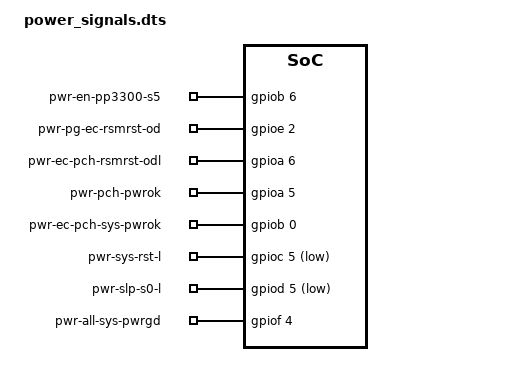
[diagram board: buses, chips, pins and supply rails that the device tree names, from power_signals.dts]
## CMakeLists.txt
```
# Copyright 2022 The ChromiumOS Authors.
# Use of this source code is governed by a BSD-style license that can be
# found in the LICENSE file.

cmake_minimum_required(VERSION 3.20.5)
find_package(Zephyr REQUIRED HINTS "${ZEPHYR_BASE}")
project(rex)

zephyr_include_directories("${CMAKE_CURRENT_SOURCE_DIR}/include")
zephyr_library_sources_ifdef(CONFIG_AP_PWRSEQ "src/board_power.c")
zephyr_library_sources_ifdef(CONFIG_PLATFORM_EC_USBC "src/usbc_config.c")
zephyr_library_sources_ifdef(CONFIG_PLATFORM_EC_USBC "src/usb_pd_policy.c")
zephyr_library_sources_ifdef(CONFIG_PLATFORM_EC_FAN "src/fan.c")
```

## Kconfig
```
# Copyright 2022 The ChromiumOS Authors.
# Use of this source code is governed by a BSD-style license that can be
# found in the LICENSE file.

config BOARD_REX0
	bool "Google Rex0 Baseboard"
	help
	  Build Google Rex0 reference board.  The board uses Nuvoton
	  NPCX9 chip as the EC.

source "Kconfig.zephyr"
```

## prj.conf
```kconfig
# Copyright 2022 The ChromiumOS Authors
# Use of this source code is governed by a BSD-style license that can be
# found in the LICENSE file.

CONFIG_PLATFORM_EC=y
CONFIG_CROS_EC=y
CONFIG_SHIMMED_TASKS=y
CONFIG_SYSCON=y
# Enable during development
CONFIG_LTO=n
CONFIG_PLATFORM_EC_SYSTEM_UNLOCKED=y
CONFIG_PLATFORM_EC_BOARD_RESET_AFTER_POWER_ON=y

# Shell Commands
CONFIG_SHELL_HELP=y
CONFIG_SHELL_HISTORY=y
CONFIG_SHELL_TAB=y
CONFIG_SHELL_TAB_AUTOCOMPLETION=y
CONFIG_KERNEL_SHELL=y

# Logging
CONFIG_LOG=y
CONFIG_LOG_MODE_MINIMAL=y

# Disable default features we don't want in a minimal example.
CONFIG_PLATFORM_EC_BACKLIGHT_LID=y
CONFIG_PLATFORM_EC_SWITCH=y
CONFIG_PLATFORM_EC_VBOOT_EFS2=y

# Application processor; communicates with EC via eSPI
CONFIG_AP=y
CONFIG_ESPI=y
CONFIG_PLATFORM_EC_HOST_INTERFACE_ESPI_VW_SLP_S3=y
CONFIG_PLATFORM_EC_HOST_INTERFACE_ESPI_VW_SLP_S4=y
CONFIG_PLATFORM_EC_HOST_INTERFACE_ESPI_VW_SLP_S5=y
CONFIG_PLATFORM_EC_HOSTCMD=y
# Disabling this until temp sensor support is in
CONFIG_PLATFORM_EC_THROTTLE_AP=n
CONFIG_PLATFORM_EC_PORT80=y

# Power Sequecing
CONFIG_AP_X86_INTEL_MTL=y
CONFIG_X86_NON_DSX_PWRSEQ_MTL=y
CONFIG_X86_NON_DSX_PWRSEQ_HOST_CMD=y
# TODO (b/240434243): This may be needed, but using eSPI VW for now
CONFIG_PLATFORM_EC_POWERSEQ_SLP_S3_L_OVERRIDE=n
CONFIG_PLATFORM_EC_POWERSEQ_PP5000_CONTROL=n

# Zephyr Inbuilt AP Power Sequencing Config
CONFIG_AP_PWRSEQ=y
CONFIG_X86_NON_DSX_PWRSEQ_CONSOLE=y
CONFIG_AP_PWRSEQ_S0IX=y

# I2C
CONFIG_I2C=y
CONFIG_PLATFORM_EC_HOSTCMD_I2C_CONTROL=y

# PWM
CONFIG_PWM=y

# Fan
CONFIG_TACH_NPCX=y

# Temperature sensors
CONFIG_SENSOR=y
CONFIG_PLATFORM_EC_TEMP_SENSOR=y
CONFIG_PLATFORM_EC_THERMISTOR=y
CONFIG_PLATFORM_EC_TEMP_SENSOR_POWER=y

# CBI EEPROM support
CONFIG_EEPROM=y
CONFIG_EEPROM_AT24=y
CONFIG_EEPROM_SHELL=n
CONFIG_PLATFORM_EC_BOARD_VERSION_CBI=y
CONFIG_PLATFORM_EC_BYPASS_CBI_EEPROM_WP_CHECK=y

# LED
CONFIG_PLATFORM_EC_LED_DT=y

# Battery
CONFIG_PLATFORM_EC_BATTERY_SMART=y
CONFIG_PLATFORM_EC_BATTERY_FUEL_GAUGE=y
CONFIG_PLATFORM_EC_BATTERY_CUT_OFF=y
CONFIG_PLATFORM_EC_BATTERY_PRESENT_GPIO=y
CONFIG_PLATFORM_EC_BATTERY_REVIVE_DISCONNECT=y

# Charger
CONFIG_PLATFORM_EC_CHARGER_DISCHARGE_ON_AC=y
CONFIG_PLATFORM_EC_CHARGER_INPUT_CURRENT=512
CONFIG_PLATFORM_EC_CHARGER_ISL9241=y
CONFIG_PLATFORM_EC_CHARGER_SENSE_RESISTOR=5
CONFIG_PLATFORM_EC_CHARGER_SENSE_RESISTOR_AC=10
CONFIG_PLATFORM_EC_CHARGER_MIN_POWER_MW_FOR_POWER_ON=30000
CONFIG_PLATFORM_EC_CHARGER_MIN_POWER_MW_FOR_POWER_ON_WITH_BATT=15000

# USB-A
CONFIG_PLATFORM_EC_USBA=y

# USBC
CONFIG_PLATFORM_EC_USBC_PPC=y
CONFIG_PLATFORM_EC_USBC_PPC_NX20P3483=y
CONFIG_PLATFORM_EC_USBC_PPC_SYV682X=y
CONFIG_PLATFORM_EC_USBC_PPC_SYV682C=y
CONFIG_PLATFORM_EC_USBC_PPC_SYV682X_SMART_DISCHARGE=y
CONFIG_PLATFORM_EC_USBC_RETIMER_INTEL_HB=y
CONFIG_PLATFORM_EC_USBC_VCONN=y

CONFIG_PLATFORM_EC_USB_DRP_ACC_TRYSRC=y
CONFIG_PLATFORM_EC_USB_PD_VBUS_DETECT_TCPC=y
CONFIG_PLATFORM_EC_USB_PD_DISCHARGE_PPC=y
CONFIG_PLATFORM_EC_USB_PD_FRS=y
CONFIG_PLATFORM_EC_USB_PD_FRS_PPC=y
CONFIG_PLATFORM_EC_USB_PD_REV30=y
CONFIG_PLATFORM_EC_USB_PD_TCPC_LOW_POWER=y
CONFIG_PLATFORM_EC_USB_PD_TCPM_TCPCI=y
CONFIG_PLATFORM_EC_USB_PD_TCPM_NCT38XX=y
CONFIG_PLATFORM_EC_USB_PD_TCPM_PS8815=y
CONFIG_PLATFORM_EC_USB_PD_TRY_SRC=y
CONFIG_PLATFORM_EC_USB_PD_DUAL_ROLE_AUTO_TOGGLE=y
CONFIG_PLATFORM_EC_USB_PD_TBT_COMPAT_MODE=y
CONFIG_PLATFORM_EC_USB_PD_USB32_DRD=y
CONFIG_PLATFORM_EC_USB_PD_USB4=y
CONFIG_PLATFORM_EC_USB_PD_VBUS_MEASURE_CHARGER=y
CONFIG_PLATFORM_EC_USB_PID=0x504D

# IOEX
CONFIG_GPIO_NCT38XX=y

# BC 1.2
CONFIG_PLATFORM_EC_BC12_DETECT_PI3USB9201=y

#USB Mux
CONFIG_PLATFORM_EC_USB_MUX_VIRTUAL=y
CONFIG_PLATFORM_EC_USB_MUX_TASK=y

# External power
CONFIG_PLATFORM_EC_EXTPOWER_GPIO=y

# Standard shimmed features
CONFIG_PLATFORM_EC_POWER_BUTTON=y
CONFIG_PLATFORM_EC_LID_SWITCH=y

# Keyboard support
CONFIG_PLATFORM_EC_KEYBOARD=y
CONFIG_PLATFORM_EC_KEYBOARD_PROTOCOL_8042=y
# Column 2 is driven through the GSC, which inverts the signal going through it
CONFIG_PLATFORM_EC_KEYBOARD_COL2_INVERTED=y

# MKBP event
CONFIG_PLATFORM_EC_MKBP_EVENT=y
CONFIG_PLATFORM_EC_MKBP_INPUT_DEVICES=y
CONFIG_PLATFORM_EC_MKBP_USE_GPIO_AND_HOST_EVENT=y

# Sensors console command
CONFIG_PLATFORM_EC_CONSOLE_CMD_ACCELS=y
CONFIG_PLATFORM_EC_CONSOLE_CMD_ACCEL_INFO=y
CONFIG_PLATFORM_EC_CONSOLE_CMD_I2C_SPEED=y

# Sensors
CONFIG_SENSOR=y
CONFIG_SENSOR_SHELL=n
CONFIG_PLATFORM_EC_MOTIONSENSE=y
CONFIG_PLATFORM_EC_ACCEL_FIFO=y
CONFIG_PLATFORM_EC_DYNAMIC_MOTION_SENSOR_COUNT=y
CONFIG_PLATFORM_EC_GMR_TABLET_MODE=y
CONFIG_PLATFORM_EC_LID_ANGLE=y
CONFIG_PLATFORM_EC_LID_ANGLE_UPDATE=y
CONFIG_PLATFORM_EC_SENSOR_TIGHT_TIMESTAMPS=y
CONFIG_PLATFORM_EC_TABLET_MODE=y
CONFIG_PLATFORM_EC_TABLET_MODE_SWITCH=y

# Sensor Drivers
CONFIG_PLATFORM_EC_ACCELGYRO_LSM6DSO=y
CONFIG_PLATFORM_EC_ACCEL_LIS2DW12=y
CONFIG_PLATFORM_EC_ALS_TCS3400=y
```

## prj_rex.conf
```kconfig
# Copyright 2022 The ChromiumOS Authors.
# Use of this source code is governed by a BSD-style license that can be
# found in the LICENSE file.

# Rex reference-board-specific Kconfig settings.
CONFIG_BOARD_REX=y

# Keyboard
CONFIG_CROS_KB_RAW_NPCX=y

# Sensors
CONFIG_SENSOR=y
CONFIG_SENSOR_SHELL=n

# Sensor drivers
CONFIG_PLATFORM_EC_ACCELGYRO_LSM6DSO=y
```

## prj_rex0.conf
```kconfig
# Copyright 2022 The ChromiumOS Authors.
# Use of this source code is governed by a BSD-style license that can be
# found in the LICENSE file.

# Rex reference-board-specific Kconfig settings.
CONFIG_BOARD_REX0=y
```

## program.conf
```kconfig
# Copyright 2022 The ChromiumOS Authors
# Use of this source code is governed by a BSD-style license that can be
# found in the LICENSE file.

CONFIG_PLATFORM_EC=y
CONFIG_CROS_EC=y
CONFIG_SHIMMED_TASKS=y
CONFIG_SYSCON=y
# Enable during development
CONFIG_LTO=n
CONFIG_PLATFORM_EC_SYSTEM_UNLOCKED=y
CONFIG_PLATFORM_EC_BOARD_RESET_AFTER_POWER_ON=y

# Shell Commands
CONFIG_SHELL_HELP=y
CONFIG_SHELL_HISTORY=y
CONFIG_SHELL_TAB=y
CONFIG_SHELL_TAB_AUTOCOMPLETION=y
CONFIG_KERNEL_SHELL=y

# Logging
CONFIG_LOG=y
CONFIG_LOG_MODE_MINIMAL=y

# Disable default features we don't want in a minimal example.
CONFIG_PLATFORM_EC_BACKLIGHT_LID=y
CONFIG_PLATFORM_EC_SWITCH=y
CONFIG_PLATFORM_EC_VBOOT_EFS2=y

# Application processor; communicates with EC via eSPI
CONFIG_AP=y
CONFIG_ESPI=y
CONFIG_PLATFORM_EC_HOST_INTERFACE_ESPI_VW_SLP_S3=y
CONFIG_PLATFORM_EC_HOST_INTERFACE_ESPI_VW_SLP_S4=y
CONFIG_PLATFORM_EC_HOST_INTERFACE_ESPI_VW_SLP_S5=y
CONFIG_PLATFORM_EC_HOSTCMD=y
# Disabling this until temp sensor support is in
CONFIG_PLATFORM_EC_THROTTLE_AP=n
CONFIG_PLATFORM_EC_PORT80=y

# Power Sequecing
CONFIG_AP_X86_INTEL_MTL=y
CONFIG_X86_NON_DSX_PWRSEQ_MTL=y
CONFIG_X86_NON_DSX_PWRSEQ_HOST_CMD=y
# TODO (b/240434243): This may be needed, but using eSPI VW for now
CONFIG_PLATFORM_EC_POWERSEQ_SLP_S3_L_OVERRIDE=n
CONFIG_PLATFORM_EC_POWERSEQ_PP5000_CONTROL=n

# Zephyr Inbuilt AP Power Sequencing Config
CONFIG_X86_NON_DSX_PWRSEQ_CONSOLE=y
CONFIG_AP_PWRSEQ_S0IX=y
CONFIG_AP_PWRSEQ_S0IX_ERROR_RECOVERY=y

# ADC
CONFIG_ADC=y

# I2C
CONFIG_I2C=y
CONFIG_PLATFORM_EC_HOSTCMD_I2C_CONTROL=y

# PWM
CONFIG_PWM=y

# Fan
CONFIG_TACH_NPCX=y

# Temperature sensors
CONFIG_PLATFORM_EC_TEMP_SENSOR_POWER=y

# CBI EEPROM support
CONFIG_EEPROM=y
CONFIG_EEPROM_AT24=y
CONFIG_EEPROM_SHELL=n
CONFIG_PLATFORM_EC_CBI_EEPROM=y
CONFIG_PLATFORM_EC_BOARD_VERSION_CBI=y
CONFIG_PLATFORM_EC_BYPASS_CBI_EEPROM_WP_CHECK=y

# Battery
CONFIG_PLATFORM_EC_BATTERY=y
CONFIG_PLATFORM_EC_BATTERY_SMART=y
CONFIG_PLATFORM_EC_BATTERY_FUEL_GAUGE=y
CONFIG_PLATFORM_EC_BATTERY_CUT_OFF=y
CONFIG_PLATFORM_EC_BATTERY_PRESENT_GPIO=y
CONFIG_PLATFORM_EC_BATTERY_REVIVE_DISCONNECT=y

# Charger
CONFIG_PLATFORM_EC_CHARGER_DISCHARGE_ON_AC=y
CONFIG_PLATFORM_EC_CHARGER_INPUT_CURRENT=512
CONFIG_PLATFORM_EC_CHARGER_ISL9241=y
CONFIG_PLATFORM_EC_CHARGER_SENSE_RESISTOR=5
CONFIG_PLATFORM_EC_CHARGER_SENSE_RESISTOR_AC=10
CONFIG_PLATFORM_EC_CHARGER_MIN_POWER_MW_FOR_POWER_ON=30000
CONFIG_PLATFORM_EC_CHARGER_MIN_POWER_MW_FOR_POWER_ON_WITH_BATT=15000

# USB-A
CONFIG_PLATFORM_EC_USBA=y

# USBC
CONFIG_PLATFORM_EC_USBC_PPC=y
CONFIG_PLATFORM_EC_USBC_PPC_SYV682C=y
CONFIG_PLATFORM_EC_USBC_PPC_SYV682X_SMART_DISCHARGE=y
CONFIG_PLATFORM_EC_USBC_VCONN=y

CONFIG_PLATFORM_EC_USB_DRP_ACC_TRYSRC=y
CONFIG_PLATFORM_EC_USB_PD_VBUS_DETECT_TCPC=y
CONFIG_PLATFORM_EC_USB_PD_DISCHARGE_PPC=y
CONFIG_PLATFORM_EC_USB_PD_FRS=y
CONFIG_PLATFORM_EC_USB_PD_FRS_PPC=y
CONFIG_PLATFORM_EC_USB_PD_REV30=y
CONFIG_PLATFORM_EC_USB_PD_TCPC_LOW_POWER=y
CONFIG_PLATFORM_EC_USB_PD_TCPM_TCPCI=y
CONFIG_PLATFORM_EC_USB_PD_TCPM_PS8815=y
CONFIG_PLATFORM_EC_USB_PD_TRY_SRC=y
CONFIG_PLATFORM_EC_USB_PD_DUAL_ROLE_AUTO_TOGGLE=y
CONFIG_PLATFORM_EC_USB_PD_TBT_COMPAT_MODE=y
CONFIG_PLATFORM_EC_USB_PD_USB32_DRD=y
CONFIG_PLATFORM_EC_USB_PD_USB4=y
CONFIG_PLATFORM_EC_USB_PD_REQUIRE_AP_MODE_ENTRY=y
CONFIG_PLATFORM_EC_USB_PD_DATA_RESET_MSG=y
CONFIG_PLATFORM_EC_USB_PD_VBUS_MEASURE_CHARGER=y
CONFIG_PLATFORM_EC_USB_PID=0x504D

# IOEX
CONFIG_GPIO_NCT38XX=y

# BC 1.2
CONFIG_PLATFORM_EC_BC12_DETECT_PI3USB9201=y

#USB Mux
CONFIG_PLATFORM_EC_USB_MUX_TASK=y

# External power
CONFIG_PLATFORM_EC_EXTPOWER_GPIO=y

# Standard shimmed features
CONFIG_PLATFORM_EC_POWER_BUTTON=y
CONFIG_PLATFORM_EC_LID_SWITCH=y

# Keyboard support
CONFIG_PLATFORM_EC_KEYBOARD=y
CONFIG_PLATFORM_EC_KEYBOARD_PROTOCOL_8042=y
# Column 2 is driven through the GSC, which inverts the signal going through it
CONFIG_PLATFORM_EC_KEYBOARD_COL2_INVERTED=y

# MKBP event
CONFIG_PLATFORM_EC_MKBP_EVENT=y
CONFIG_PLATFORM_EC_MKBP_INPUT_DEVICES=y
CONFIG_PLATFORM_EC_MKBP_USE_GPIO_AND_HOST_EVENT=y

# Sensors console command
CONFIG_PLATFORM_EC_CONSOLE_CMD_ACCELS=y
CONFIG_PLATFORM_EC_CONSOLE_CMD_ACCEL_INFO=y
CONFIG_PLATFORM_EC_CONSOLE_CMD_I2C_SPEED=y

# Sensors
CONFIG_PLATFORM_EC_MOTIONSENSE=y
CONFIG_PLATFORM_EC_ACCEL_FIFO=y
CONFIG_PLATFORM_EC_DYNAMIC_MOTION_SENSOR_COUNT=y
CONFIG_PLATFORM_EC_GMR_TABLET_MODE=y
CONFIG_PLATFORM_EC_LID_ANGLE=y
CONFIG_PLATFORM_EC_LID_ANGLE_UPDATE=y
CONFIG_PLATFORM_EC_SENSOR_TIGHT_TIMESTAMPS=y
CONFIG_PLATFORM_EC_TABLET_MODE=y
CONFIG_PLATFORM_EC_TABLET_MODE_SWITCH=y

# Sensor Drivers
CONFIG_PLATFORM_EC_ACCELGYRO_LSM6DSO=y
CONFIG_PLATFORM_EC_ACCEL_LIS2DW12=y
CONFIG_PLATFORM_EC_ALS_TCS3400=y
```

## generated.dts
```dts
/* Copyright 2022 The ChromiumOS Authors
 * Use of this source code is governed by a BSD-style license that can be
 * found in the LICENSE file.
 *
 * This file is auto-generated - do not edit!
 *
 * TODO(b:/244441996): There are some errors in the main Rex EC GPIO spreadsheet
 * which is used as input to create this device tree file. Until that issue is
 * resolved, there are some edits required to this file to support EC
 * functionality.
 */

/ {

	named-adc-channels {
		compatible = "named-adc-channels";

		adc_ddr_soc: ddr_soc {
			enum-name = "ADC_TEMP_SENSOR_1_DDR_SOC";
			io-channels = <&adc0 0>;
		};
		adc_ambient: ambient {
			enum-name = "ADC_TEMP_SENSOR_2";
			io-channels = <&adc0 1>;
		};
		adc_charger: charger {
			enum-name = "ADC_TEMP_SENSOR_3";
			io-channels = <&adc0 8>;
		};
		adc_wwan: wwan {
			enum-name = "ADC_TEMP_SENSOR_4";
			io-channels = <&adc0 7>;
		};
	};

	named-gpios {
		compatible = "named-gpios";

		gpio_acok_od: acok_od {
			gpios = <&gpio0 0 GPIO_INPUT>;
			enum-name = "GPIO_AC_PRESENT";
		};
		gpio_ccd_mode_odl: ccd_mode_odl {
			gpios = <&gpioe 5 GPIO_ODR_LOW>;
			enum-name = "GPIO_CCD_MODE_ODL";
		};
		gpio_cpu_c10_gate_l: cpu_c10_gate_l {
			gpios = <&gpioa 7 GPIO_INPUT>;
		};
		gpio_ec_accel_int_r_l: ec_accel_int_r_l {
			gpios = <&gpio8 1 GPIO_INPUT>;
		};
		gpio_ec_als_rgb_int_r_l: ec_als_rgb_int_r_l {
			gpios = <&gpiod 4 GPIO_INPUT_PULL_UP>;
		};
		gpio_ec_batt_pres_odl: ec_batt_pres_odl {
			gpios = <&gpioa 3 GPIO_INPUT>;
			enum-name = "GPIO_BATT_PRES_ODL";
		};
		gpio_ec_cbi_wp: ec_cbi_wp {
			gpios = <&gpio7 3 GPIO_OUTPUT>;
		};
		gpio_ec_edp_bl_en: ec_edp_bl_en {
			gpios = <&gpiod 3 GPIO_OUTPUT_LOW>;
			enum-name = "GPIO_ENABLE_BACKLIGHT";
		};
		gpio_ec_gsc_packet_mode: ec_gsc_packet_mode {
			gpios = <&gpio7 5 GPIO_ODR_HIGH>;
			enum-name = "GPIO_PACKET_MODE_EN";
		};
		gpio_ec_imu_int_r_l: ec_imu_int_r_l {
			gpios = <&gpio5 6 GPIO_INPUT_PULL_UP>;
		};
		gpio_ec_imvp92_en_smb: ec_imvp92_en_smb {
			gpios = <&gpiob 1 GPIO_OUTPUT>;
		};
		gpio_ec_kb_bl_en_l: ec_kb_bl_en_l {
			gpios = <&gpio8 6 GPIO_OUTPUT>;
		};
		gpio_ec_kso_02_inv: ec_kso_02_inv {
			gpios = <&gpio1 7 (GPIO_OUTPUT | GPIO_ACTIVE_LOW)>;
		};
		gpio_ec_prochot_in_l: ec_prochot_in_l {
			gpios = <&gpiof 0 GPIO_INPUT>;
		};
		gpio_ec_prochot_odl: ec_prochot_odl {
			gpios = <&gpio6 3 GPIO_ODR_HIGH>;
		};
		gpio_ec_rst_r_odl: ec_rst_r_odl {
			gpios = <&gpio7 7 GPIO_INPUT>;
		};
		gpio_ec_soc_int_odl: ec_soc_int_odl {
			gpios = <&gpio7 0 GPIO_ODR_LOW>;
			enum-name = "GPIO_EC_INT_L";
		};
		gpio_ec_soc_pwr_btn_odl: ec_soc_pwr_btn_odl {
			gpios = <&gpioc 1 GPIO_ODR_LOW>;
			enum-name = "GPIO_PCH_PWRBTN_L";
		};
		gpio_ec_soc_rsmrst_l: ec_soc_rsmrst_l {
			gpios = <&gpioa 6 GPIO_OUTPUT>;
		};
		gpio_ec_soc_rtcrst: ec_soc_rtcrst {
			gpios = <&gpio7 6 GPIO_ODR_HIGH>;
		};
		gpio_ec_soc_wake_r_odl: ec_soc_wake_r_odl {
			gpios = <&gpioc 0 GPIO_ODR_LOW>;
		};
		gpio_ec_spare_gpio42: ec_spare_gpio42 {
			gpios = <&gpio4 2 GPIO_OUTPUT>;
		};
		gpio_ec_spare_gpio66: ec_spare_gpio66 {
			gpios = <&gpio6 6 GPIO_OUTPUT>;
		};
		gpio_ec_spare_gpio94: ec_spare_gpio94 {
			gpios = <&gpio9 4 GPIO_OUTPUT>;
		};
		gpio_ec_spare_gpioa2: ec_spare_gpioa2 {
			gpios = <&gpioa 2 GPIO_OUTPUT>;
		};
		gpio_ec_spare_gpioa4: ec_spare_gpioa4 {
			gpios = <&gpioa 4 GPIO_OUTPUT>;
		};
		gpio_ec_spare_gpioc7: ec_spare_gpioc7 {
			gpios = <&gpioc 7 GPIO_OUTPUT>;
		};
		gpio_ec_spare_gpo32: ec_spare_gpo32 {
			gpios = <&gpio3 2 GPIO_OUTPUT>;
		};
		gpio_ec_spare_gpo35: ec_spare_gpo35 {
			gpios = <&gpio3 5 GPIO_OUTPUT>;
		};
		gpio_ec_voldn_btn_odl: ec_voldn_btn_odl {
			gpios = <&gpio9 3 GPIO_INPUT_PULL_UP>;
			enum-name = "GPIO_VOLUME_DOWN_L";
		};
		gpio_ec_volup_btn_odl: ec_volup_btn_odl {
			gpios = <&gpio9 7 GPIO_INPUT_PULL_UP>;
			enum-name = "GPIO_VOLUME_UP_L";
		};
		gpio_ec_wp_l: ec_wp_l {
			gpios = <&gpioa 1 GPIO_INPUT>;
		};
		gpio_en_pp5000_fan: en_pp5000_fan {
			gpios = <&gpio6 1 GPIO_OUTPUT_LOW>;
		};
		gpio_en_pp5000_usba_r: en_pp5000_usba_r {
			gpios = <&gpiod 7 GPIO_OUTPUT>;
		};
		gpio_en_s5_rails: en_s5_rails {
			gpios = <&gpiob 6 GPIO_ODR_HIGH>;
			enum-name = "GPIO_TEMP_SENSOR_POWER";
		};
		gpio_en_z1_rails: en_z1_rails {
			gpios = <&gpio8 5 GPIO_OUTPUT>;
		};
		gpio_gsc_ec_pwr_btn_odl: gsc_ec_pwr_btn_odl {
			gpios = <&gpio0 1 GPIO_INPUT_PULL_UP>;
		};
		gpio_imvp92_vrrdy_od: imvp92_vrrdy_od {
			gpios = <&gpio4 3 GPIO_INPUT>;
		};
		gpio_led_1_l: led_1_l {
			gpios = <&gpioc 4 GPIO_OUTPUT>;
		};
		gpio_led_2_l: led_2_l {
			gpios = <&gpioc 3 GPIO_OUTPUT>;
		};
		gpio_led_3_l: led_3_l {
			gpios = <&gpioc 2 GPIO_OUTPUT>;
		};
		gpio_led_4_l: led_4_l {
			gpios = <&gpio6 0 GPIO_OUTPUT>;
		};
		gpio_lid_open: lid_open {
			gpios = <&gpiod 2 GPIO_INPUT_PULL_UP>;
			enum-name = "GPIO_LID_OPEN";
		};
		gpio_mech_pwr_btn_odl: mech_pwr_btn_odl {
			gpios = <&gpio0 2 GPIO_INPUT>;
			enum-name = "GPIO_POWER_BUTTON_L";
		};
		gpio_seq_ec_all_sys_pg: seq_ec_all_sys_pg {
			gpios = <&gpiof 4 GPIO_INPUT>;
		};
		gpio_seq_ec_rsmrst_odl: seq_ec_rsmrst_odl {
			gpios = <&gpioe 2 GPIO_INPUT>;
		};
		gpio_slp_s3_ls_l: slp_s3_ls_l {
			gpios = <&gpio4 1 GPIO_INPUT>;
		};
		gpio_sochot_odl: sochot_odl {
			gpios = <&gpio9 6 GPIO_INPUT>;
		};
		gpio_soc_pwrok: soc_pwrok {
			gpios = <&gpioa 5 GPIO_OUTPUT>;
		};
		gpio_sys_pwrok: sys_pwrok {
			gpios = <&gpiob 0 GPIO_OUTPUT>;
		};
		gpio_sys_rst_odl: sys_rst_odl {
			gpios = <&gpioc 5 GPIO_INPUT>;
		};
		gpio_sys_slp_s0ix_3v3_l: sys_slp_s0ix_3v3_l {
			gpios = <&gpiod 5 GPIO_INPUT>;
			enum-name = "GPIO_PCH_SLP_S0_L"; /* 1.8V */
		};
		gpio_tablet_mode_l: tablet_mode_l {
			gpios = <&gpio9 5 GPIO_INPUT_PULL_UP>;
			enum-name = "GPIO_TABLET_MODE_L";
		};
		gpio_usb_c0_bc12_int_odl: usb_c0_bc12_int_odl {
			gpios = <&gpioc 6 GPIO_INPUT>;
			enum-name = "GPIO_USB_C0_BC12_INT_ODL";
		};
		gpio_usb_c0_ppc_int_odl: usb_c0_ppc_int_odl {
			gpios = <&gpio6 2 GPIO_INPUT>;
			enum-name = "GPIO_USB_C0_PPC_INT_ODL";
		};
		gpio_usb_c0_rt_3p3_sx_en: usb_c0_rt_3p3_sx_en {
			gpios = <&gpio0 3 GPIO_OUTPUT_LOW>;
		};
		gpio_usb_c0_rt_int_odl: usb_c0_rt_int_odl {
			gpios = <&gpioa 0 GPIO_INPUT>;
		};
		gpio_usb_c0_tcpc_int_odl: usb_c0_tcpc_int_odl {
			gpios = <&gpioe 0 GPIO_INPUT>;
			enum-name = "GPIO_USB_C0_TCPC_INT_ODL";
		};
		gpio_usb_c0_tcpc_rst_odl: usb_c0_tcpc_rst_odl {
			gpios = <&gpio6 7 GPIO_ODR_HIGH>;
		};
		gpio_usb_c1_bc12_int_odl: usb_c1_bc12_int_odl {
			gpios = <&gpio5 0 GPIO_INPUT>;
			enum-name = "GPIO_USB_C1_BC12_INT_ODL";
		};
		gpio_usb_c1_frs_en: usb_c1_frs_en {
			gpios = <&gpio8 3 GPIO_ODR_HIGH>;
		};
		gpio_usb_c1_ppc_int_odl: usb_c1_ppc_int_odl {
			gpios = <&gpiof 5 GPIO_INPUT>;
			enum-name = "GPIO_USB_C1_PPC_INT_ODL";
		};
		gpio_usb_c1_rst_odl: usb_c1_rst_odl {
			gpios = <&gpio3 7 GPIO_ODR_LOW>;
		};
		gpio_usb_c1_rt_int_odl: usb_c1_rt_int_odl {
			gpios = <&gpio7 2 GPIO_INPUT_PULL_UP>;
		};
		gpio_usb_c1_rt_rst_r_odl: usb_c1_rt_rst_r_odl {
			gpios = <&gpio7 4 GPIO_ODR_HIGH>;
		};
		gpio_usb_c1_tcpc_int_odl: usb_c1_tcpc_int_odl {
			gpios = <&gpio3 4 GPIO_INPUT>;
			enum-name = "GPIO_USB_C1_TCPC_INT_ODL";
		};
	};

	named-i2c-ports {
		compatible = "named-i2c-ports";

		i2c_ec_i2c_sensor: ec_i2c_sensor {
			i2c-port = <&i2c0_0>;
			enum-names = "I2C_PORT_SENSOR";
		};
		i2c_ec_i2c_usb_c0_tcp: ec_i2c_usb_c0_tcp {
			i2c-port = <&i2c1_0>;
			enum-names = "I2C_PORT_USB_C0_TCPC";
		};
		i2c_ec_i2c_usb_c0_ppc_b: ec_i2c_usb_c0_ppc_b {
			i2c-port = <&i2c2_0>;
			enum-names = "I2C_PORT_PPC0";
		};
		i2c_ec_i2c_usb_c0_rt: ec_i2c_usb_c0_rt {
			i2c-port = <&i2c3_0>;
			enum-names = "I2C_PORT_USB_C0_RT";
		};
		i2c_ec_i2c_usb_c1_tcp: ec_i2c_usb_c1_tcp {
			i2c-port = <&i2c4_1>;
			enum-names = "I2C_PORT_USB_C1_TCPC";
		};
		i2c_ec_i2c_bat: ec_i2c_bat {
			i2c-port = <&i2c5_0>;
			enum-names = "I2C_PORT_BATTERY";
		};
		i2c_ec_i2c_usb_c1_mix: ec_i2c_usb_c1_mix {
			i2c-port = <&i2c6_1>;
			enum-names = "I2C_PORT_USB_1_MIX";
		};
		i2c_ec_i2c_mi: ec_i2c_mi {
			i2c-port = <&i2c7_0>;
			enum-names = "I2C_PORT_EEPROM";
		};
	};
};

&adc0 {
	status = "okay";
};

&i2c0_0 {
	status = "okay";
};

&i2c1_0 {
	status = "okay";
};

&i2c2_0 {
	status = "okay";
};

&i2c3_0 {
	status = "okay";
};

&i2c4_1 {
	status = "okay";
};

&i2c5_0 {
	status = "okay";
};

&i2c6_1 {
	status = "okay";
};

&i2c7_0 {
	status = "okay";
};

&i2c_ctrl0 {
	status = "okay";
};

&i2c_ctrl1 {
	status = "okay";
};

&i2c_ctrl2 {
	status = "okay";
};

&i2c_ctrl3 {
	status = "okay";
};

&i2c_ctrl4 {
	status = "okay";
};

&i2c_ctrl5 {
	status = "okay";
};

&i2c_ctrl6 {
	status = "okay";
};

&i2c_ctrl7 {
	status = "okay";
};
```

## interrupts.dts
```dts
/* Copyright 2022 The ChromiumOS Authors
 * Use of this source code is governed by a BSD-style license that can be
 * found in the LICENSE file.
 */

/ {
	gpio-interrupts {
		compatible = "cros-ec,gpio-interrupts";

		int_ac_present: ac_present {
			irq-pin = <&gpio_acok_od>;
			flags = <GPIO_INT_EDGE_BOTH>;
			handler = "extpower_interrupt";
		};
		int_power_button: power_button {
			irq-pin = <&gpio_mech_pwr_btn_odl>;
			flags = <GPIO_INT_EDGE_BOTH>;
			handler = "power_button_interrupt";
		};
		int_lid_open: lid_open {
			irq-pin = <&gpio_lid_open>;
			flags = <GPIO_INT_EDGE_BOTH>;
			handler = "lid_interrupt";
		};
		int_usb_c0_sbu_fault: c0_sbu_fault {
			irq-pin = <&ioex_usb_c0_sbu_fault_odl>;
			flags = <GPIO_INT_EDGE_FALLING>;
			handler = "sbu_fault_interrupt";
		};
		int_usb_c0_tcpc: usb_c0_tcpc {
			irq-pin = <&gpio_usb_c0_tcpc_int_odl>;
			flags = <GPIO_INT_EDGE_FALLING>;
			handler = "tcpc_alert_event";
		};
		int_usb_c0_ppc: usb_c0_ppc {
			irq-pin = <&gpio_usb_c0_ppc_int_odl>;
			flags = <GPIO_INT_EDGE_FALLING>;
			handler = "ppc_interrupt";
		};
		int_usb_c0_bc12: usb_c0_bc12 {
			irq-pin = <&gpio_usb_c0_bc12_int_odl>;
			flags = <GPIO_INT_EDGE_FALLING>;
			handler = "bc12_interrupt";
		};
		int_usb_c1_tcpc: usb_c1_tcpc {
			irq-pin = <&gpio_usb_c1_tcpc_int_odl>;
			flags = <GPIO_INT_EDGE_FALLING>;
			handler = "tcpc_alert_event";
		};
		int_usb_c1_ppc: usb_c1_ppc {
			irq-pin = <&gpio_usb_c1_ppc_int_odl>;
			flags = <GPIO_INT_EDGE_FALLING>;
			handler = "ppc_interrupt";
		};
		int_usb_c1_bc12: usb_c1_bc12 {
			irq-pin = <&gpio_usb_c1_bc12_int_odl>;
			flags = <GPIO_INT_EDGE_FALLING>;
			handler = "bc12_interrupt";
		};
		int_imu: ec_imu {
			irq-pin = <&gpio_ec_imu_int_r_l>;
			flags = <GPIO_INT_EDGE_FALLING>;
			handler = "lsm6dso_interrupt";
		};
		int_als_rgb: ec_als_rgb {
			irq-pin = <&gpio_ec_als_rgb_int_r_l>;
			flags = <GPIO_INT_EDGE_FALLING>;
			handler = "tcs3400_interrupt";
		};
		int_accel: ec_accel {
			irq-pin = <&gpio_ec_accel_int_r_l>;
			flags = <GPIO_INT_EDGE_FALLING>;
			handler = "lis2dw12_interrupt";
		};
		int_ccd_mode: ccd_mode {
			irq-pin = <&gpio_ccd_mode_odl>;
			flags = <GPIO_INT_EDGE_FALLING>;
			handler = "board_connect_c0_sbu";
		};
	};
};

/* Required node label that doesn't is named differently on Rex */
gpio_ec_pch_wake_odl: &gpio_ec_soc_wake_r_odl {};
```

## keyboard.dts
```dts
/* Copyright 2022 The Chromium OS Authors. All rights reserved.
 * Use of this source code is governed by a BSD-style license that can be
 * found in the LICENSE file.
 */

&cros_kb_raw {
	status = "okay";
	/* No KSO2 (it's inverted and implemented by GPIO) */
	pinctrl-0 = <
		&ksi0_gp31
		&ksi1_gp30
		&ksi2_gp27
		&ksi3_gp26
		&ksi4_gp25
		&ksi5_gp24
		&ksi6_gp23
		&ksi7_gp22
		&kso00_gp21
		&kso01_gp20
		&kso03_gp16
		&kso04_gp15
		&kso05_gp14
		&kso06_gp13
		&kso07_gp12
		&kso08_gp11
		&kso09_gp10
		&kso10_gp07
		&kso11_gp06
		&kso12_gp05
		&kso13_gp04
		&kso14_gp82
		&kso15_gp83
		&kso16_gp03
	>;
	pinctrl-names = "default";
};
```

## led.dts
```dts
/* Copyright 2022 The Chromium OS Authors. All rights reserved.
 * Use of this source code is governed by a BSD-style license that can be
 * found in the LICENSE file.
 */

/ {
	gpio-led-pins {
		compatible = "cros-ec,gpio-led-pins";

		color_off: color-off {
			led-color = "LED_OFF";
			led-id = "EC_LED_ID_BATTERY_LED";
			led-pins = <&gpio_led_1_l 1>,
				   <&gpio_led_2_l 1>;
		};

		color_white: color-white {
			led-color = "LED_WHITE";
			led-id = "EC_LED_ID_BATTERY_LED";
			br-color = "EC_LED_COLOR_WHITE";
			led-pins = <&gpio_led_1_l 1>,
				   <&gpio_led_2_l 0>;
		};

		color_amber: color-amber {
			led-color = "LED_AMBER";
			led-id = "EC_LED_ID_BATTERY_LED";
			br-color = "EC_LED_COLOR_AMBER";
			led-pins = <&gpio_led_1_l 0>,
				   <&gpio_led_2_l 1>;
		};
	};

	led-colors {
		compatible = "cros-ec,led-policy";

		power-state-charge {
			charge-state = "PWR_STATE_CHARGE";

			color-0 {
				led-color = <&color_amber>;
			};
		};

		power-state-discharge-s0 {
			charge-state = "PWR_STATE_DISCHARGE";
			chipset-state = "POWER_S0";

			color-0 {
				led-color = <&color_off>;
			};
		};

		power-state-discharge-s3 {
			charge-state = "PWR_STATE_DISCHARGE";
			chipset-state = "POWER_S3";

			/* Blue 1 sec, off 3 sec */
			color-0 {
				led-color = <&color_white>;
				period-ms = <1000>;
			};
			color-1 {
				led-color = <&color_off>;
				period-ms = <3000>;
			};
		};

		power-state-discharge-s5 {
			charge-state = "PWR_STATE_DISCHARGE";
			chipset-state = "POWER_S5";

			color-0 {
				led-color = <&color_off>;
			};
		};

		power-state-error {
			charge-state = "PWR_STATE_ERROR";

			/* Red 1 sec, off 1 sec */
			color-0 {
				led-color = <&color_white>;
				period-ms = <1000>;
			};
			color-1 {
				led-color = <&color_off>;
				period-ms = <1000>;
			};
		};

		power-state-near-full {
			charge-state = "PWR_STATE_CHARGE_NEAR_FULL";

			color-0 {
				led-color = <&color_amber>;
			};
		};

		power-state-idle-forced {
			charge-state = "PWR_STATE_IDLE";
			extra-flag = "LED_CHFLAG_FORCE_IDLE";

			/* White 2 sec, Amber 2 sec */
			color-0 {
				led-color = <&color_white>;
				period-ms = <2000>;
			};
			color-1 {
				led-color = <&color_amber>;
				period-ms = <2000>;
			};
		};

		power-state-idle-default {
			charge-state = "PWR_STATE_IDLE";
			extra-flag = "LED_CHFLAG_DEFAULT";

			color-0 {
				led-color = <&color_white>;
			};
		};
	};
};

&gpio_led_1_l {
	#led-pin-cells = <1>;
};

&gpio_led_2_l {
	#led-pin-cells = <1>;
};

&gpio_led_3_l {
	#led-pin-cells = <1>;
};

&gpio_led_4_l {
	#led-pin-cells = <1>;
};
```

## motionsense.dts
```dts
/*
 * Copyright (c) 2022 The Chromium OS Authors
 *
 * SPDX-License-Identifier: Apache-2.0
 */

#include <dt-bindings/motionsense/utils.h>


/ {
	aliases {
		/*
		 * motion sense's <>_INT_EVENT is handled
		 * by alias. Using the alias, each driver creates
		 * its own <>_INT_EVENT.
		 */
		lsm6dso-int = &base_accel;
	};

	/*
	 * Declare mutexes used by sensor drivers.
	 * A mutex node is used to create an instance of mutex_t.
	 * A mutex node is referenced by a sensor node if the
	 * corresponding sensor driver needs to use the
	 * instance of the mutex.
	 */
	motionsense-mutex {
		compatible = "cros-ec,motionsense-mutex";
		mutex_lsm6dso: lsm6dso-mutex {
		};
	};

	/* Rotation matrix used by drivers. */
	motionsense-rotation-ref {
		compatible = "cros-ec,motionsense-rotation-ref";
		base_rot_ref: base-rotation-ref {
			mat33 = <1 0 0
				 0 (-1) 0
				 0 0 (-1)>;
		};
	};

	/*
	 * Driver specific data. A driver-specific data can be shared with
	 * different motion sensors while they are using the same driver.
	 *
	 * If a node's compatible starts with "cros-ec,accelgyro-", it is for
	 * a common structure defined in accelgyro.h.
	 * e.g) compatible = "cros-ec,accelgyro-als-drv-data" is for
	 * "struct als_drv_data_t" in accelgyro.h
	 */
	motionsense-sensor-data {
		lsm6dso_accel_data: lsm6dso-drv-data {
			compatible = "cros-ec,drvdata-lsm6dso";
			status = "okay";
		};

		lsm6dso_gyro_data: lsm6dso-drv-data {
			compatible = "cros-ec,drvdata-lsm6dso";
			status = "okay";
		};
	};

	/*
	 * List of motion sensors that creates motion_sensors array.
	 * The nodelabel "lid_accel" and "base_accel" are used to indicate
	 * motion sensor IDs for lid angle calculation.
	 */
	motionsense-sensor {
		base_accel: base-accel {
			compatible = "cros-ec,lsm6dso-accel";
			status = "okay";

			active-mask = "SENSOR_ACTIVE_S0_S3";
			location = "MOTIONSENSE_LOC_BASE";
			mutex = <&mutex_lsm6dso>;
			port = <&i2c_ec_i2c_sensor>;
			rot-standard-ref = <&base_rot_ref>;
			default-range = <4>;
			drv-data = <&lsm6dso_accel_data>;
			i2c-spi-addr-flags = "LSM6DSO_ADDR0_FLAGS";
			configs {
				compatible =
					"cros-ec,motionsense-sensor-config";
				ec-s0 {
					odr = <(10000 | ROUND_UP_FLAG)>;
					ec-rate = <(100 * USEC_PER_MSEC)>;
				};
				ec-s3 {
					odr = <(10000 | ROUND_UP_FLAG)>;
					ec-rate = <(100 * USEC_PER_MSEC)>;
				};
			};
		};

		base-gyro {
			compatible = "cros-ec,lsm6dso-gyro";
			status = "okay";

			active-mask = "SENSOR_ACTIVE_S0_S3";
			location = "MOTIONSENSE_LOC_BASE";
			mutex = <&mutex_lsm6dso>;
			port = <&i2c_ec_i2c_sensor>;
			rot-standard-ref = <&base_rot_ref>;
			default-range = <(1000 | ROUND_UP_FLAG)>; /* dps */
			drv-data = <&lsm6dso_gyro_data>;
			i2c-spi-addr-flags = "LSM6DSO_ADDR0_FLAGS";
		};
	};

	motionsense-sensor-info {
		compatible = "cros-ec,motionsense-sensor-info";

		/*
		 * list of GPIO interrupts that have to
		 * be enabled at initial stage
		 */
		sensor-irqs = <&int_imu>;
	};
};
```

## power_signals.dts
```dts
/* Copyright 2022 The ChromiumOS Authors.
 * Use of this source code is governed by a BSD-style license that can be
 * found in the LICENSE file.
 */

/ {
	chosen {
		intel-ap-pwrseq,espi = &espi0;
	};

	common-pwrseq {
		compatible = "intel,ap-pwrseq";

		sys-pwrok-delay = <3>;
		all-sys-pwrgd-timeout = <20>;
	};

	pwr-en-pp3300-s5 {
		compatible = "intel,ap-pwrseq-gpio";
		dbg-label = "PP1800_S5/PP3300_S5 enable output to LS";
		enum-name = "PWR_EN_PP3300_A";
		gpios = <&gpiob 6 GPIO_ACTIVE_HIGH>;
		output;
	};
	pwr-pg-ec-rsmrst-od {
		compatible = "intel,ap-pwrseq-gpio";
		dbg-label = "RSMRST power good from regulator";
		enum-name = "PWR_RSMRST";
		gpios = <&gpioe 2 GPIO_ACTIVE_HIGH>;
		interrupt-flags = <GPIO_INT_EDGE_BOTH>;
	};
	pwr-ec-pch-rsmrst-odl {
		compatible = "intel,ap-pwrseq-gpio";
		dbg-label = "RSMRST output to PCH";
		enum-name = "PWR_EC_PCH_RSMRST";
		gpios = <&gpioa 6 GPIO_ACTIVE_HIGH>;
		output;
	};
	pwr-pch-pwrok {
		compatible = "intel,ap-pwrseq-gpio";
		dbg-label = "PCH_PWROK output to PCH";
		enum-name = "PWR_PCH_PWROK";
		gpios = <&gpioa 5 GPIO_ACTIVE_HIGH>;
		output;
	};
	pwr-ec-pch-sys-pwrok {
		compatible = "intel,ap-pwrseq-gpio";
		dbg-label = "SYS_PWROK output to PCH";
		enum-name = "PWR_EC_PCH_SYS_PWROK";
		gpios = <&gpiob 0 GPIO_ACTIVE_HIGH>;
		output;
	};
	pwr-sys-rst-l {
		compatible = "intel,ap-pwrseq-gpio";
		dbg-label = "SYS_RESET# output to PCH";
		enum-name = "PWR_SYS_RST";
		gpios = <&gpioc 5 (GPIO_ACTIVE_LOW|GPIO_OPEN_DRAIN)>;
		output;
	};
	pwr-slp-s0-l {
		compatible = "intel,ap-pwrseq-gpio";
		dbg-label = "SLP_S0_L input from PCH";
		enum-name = "PWR_SLP_S0";
		gpios = <&gpiod 5 GPIO_ACTIVE_LOW>;
		interrupt-flags = <GPIO_INT_EDGE_BOTH>;
	};
	pwr-slp-s3-l {
		compatible = "intel,ap-pwrseq-vw";
		dbg-label = "SLP_S3_L input from PCH";
		enum-name = "PWR_SLP_S3";
		virtual-wire = "ESPI_VWIRE_SIGNAL_SLP_S4";
		vw-invert;
/*
 * TODO: Initially, use virtual wire for sleep S3 signal instead of
 * of the GPIO signal which also exists.
 *		compatible = "intel,ap-pwrseq-gpio";
 *		gpios = <&gpio4 1 GPIO_ACTIVE_LOW>;
 *		interrupt-flags = <GPIO_INT_EDGE_BOTH>;
 */
	};
	pwr-slp-s4 {
		compatible = "intel,ap-pwrseq-vw";
		dbg-label = "SLP_S4 virtual wire input from PCH";
		enum-name = "PWR_SLP_S4";
		virtual-wire = "ESPI_VWIRE_SIGNAL_SLP_S4";
		vw-invert;
	};
	pwr-slp-s5 {
		compatible = "intel,ap-pwrseq-vw";
		dbg-label = "SLP_S5 virtual wire input from PCH";
		enum-name = "PWR_SLP_S5";
		virtual-wire = "ESPI_VWIRE_SIGNAL_SLP_S5";
		vw-invert;
	};
	pwr-all-sys-pwrgd {
		compatible = "intel,ap-pwrseq-gpio";
		dbg-label = "all power good";
		enum-name = "PWR_ALL_SYS_PWRGD";
		gpios = <&gpiof 4 (GPIO_ACTIVE_HIGH | GPIO_PULL_UP)>;
		interrupt-flags = <GPIO_INT_EDGE_BOTH>;
	};
};

/*
 * Because the power signals directly reference the GPIOs,
 * the corresponding named-gpios need to have no-auto-init set.
 */
 /* pwr-en-pp3300-s5 */
&gpio_en_s5_rails {
	no-auto-init;
};

/* pwr-pg-ec-rsmrst-od */
&gpio_seq_ec_rsmrst_odl{
	no-auto-init;
};

/* pwr-ec-pch-rsmrst-odl */
&gpio_ec_soc_rsmrst_l{
	no-auto-init;
};

/* pwr-pch-pwrok */
&gpio_soc_pwrok{
	no-auto-init;
};

/* pwr-ec-pch-sys-pwrok */
&gpio_sys_pwrok{
	no-auto-init;
};

/* pwr-sys-rst-l */
&gpio_sys_rst_odl{
	no-auto-init;
};

/* pwr-slp-s0-l */
&gpio_sys_slp_s0ix_3v3_l{
	no-auto-init;
};

/* pwr-slp-s3-l */
&gpio_slp_s3_ls_l{
	no-auto-init;
};

/* pwr-all-sys-pwrgd */
&gpio_seq_ec_all_sys_pg{
	no-auto-init;
};
```

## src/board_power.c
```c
/* Copyright 2022 The ChromiumOS Authors
 * Use of this source code is governed by a BSD-style license that can be
 * found in the LICENSE file.
 */

#include <zephyr/logging/log.h>
#include <zephyr/drivers/gpio.h>

#include <ap_power/ap_power.h>
#include <ap_power/ap_power_events.h>
#include <ap_power/ap_power_interface.h>
#include <ap_power_override_functions.h>
#include <power_signals.h>
#include <x86_power_signals.h>

#include "gpio_signal.h"
#include "gpio/gpio.h"

#include "zephyr_console_shim.h"

LOG_MODULE_DECLARE(ap_pwrseq, LOG_LEVEL_INF);

#if CONFIG_X86_NON_DSX_PWRSEQ_MTL
#define X86_NON_DSX_MTL_FORCE_SHUTDOWN_TO_MS 50

bool intel_debug;

void board_ap_power_force_shutdown(void)
{
	int timeout_ms = X86_NON_DSX_MTL_FORCE_SHUTDOWN_TO_MS;

	/* this prevents force shutdown if intel debug is enabled*/
	if (intel_debug) {
		LOG_WRN("intel_debug is enabled, preventing force shutdown");
		return;
	}

	/* Turn off PCH_RMSRST to meet tPCH12 */
	power_signal_set(PWR_EC_PCH_RSMRST, 0);

	/* Turn off PRIM load switch. */
	power_signal_set(PWR_EN_PP3300_A, 0);

	/* Wait RSMRST to be off. */
	while (power_signal_get(PWR_RSMRST) && (timeout_ms > 0)) {
		k_msleep(1);
		timeout_ms--;
	};

	if (power_signal_get(PWR_RSMRST)) {
		LOG_WRN("RSMRST_ODL didn't go low!  Assuming G3.");
	}
}

void board_ap_power_action_g3_s5(void)
{
	/* Turn on the PP3300_PRIM rail. */
	power_signal_set(PWR_EN_PP3300_A, 1);

	if (!power_wait_signals_timeout(
		    IN_PGOOD_ALL_CORE,
		    AP_PWRSEQ_DT_VALUE(wait_signal_timeout))) {
		ap_power_ev_send_callbacks(AP_POWER_PRE_INIT);
	}
}

bool board_ap_power_check_power_rails_enabled(void)
{
	return power_signal_get(PWR_EN_PP3300_A);
}

static int command_intel_debug(int argc, const char **argv)
{
	if (argc > 1) {
		if (!strcmp(argv[1], "enable")) {
			intel_debug = true;
		} else if (!strcmp(argv[1], "disable")) {
			intel_debug = false;
		} else {
			return -1;
		}
	}
	LOG_INF("intel_debug = %s", (intel_debug ? "enable" : "disable"));

	return 0;
}

DECLARE_CONSOLE_COMMAND(intel_debug, command_intel_debug, "[enable|disable]",
			"Prevents force shutdown if intel debug is enabled");
#endif /* CONFIG_X86_NON_DSX_PWRSEQ_MTL */
```

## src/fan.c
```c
/* Copyright 2022 The ChromiumOS Authors.
 * Use of this source code is governed by a BSD-style license that can be
 * found in the LICENSE file.
 */

#include <zephyr/devicetree.h>
#include <zephyr/drivers/gpio.h>
#include <zephyr/logging/log.h>

#include "cros_board_info.h"
#include "cros_cbi.h"
#include "fan.h"
#include "gpio/gpio.h"
#include "hooks.h"

/*
 * Rex fan support
 */
static void fan_init(void)
{
	/*
	 * TODO(b/244870433): Currently this function needs to exist but, no
	 * functionality is required. Once CBI FW config is being used and there
	 * are variants without fans, then this function will be used to
	 * determine if fan control is required or not.
	 */
}
DECLARE_HOOK(HOOK_INIT, fan_init, HOOK_PRIO_POST_FIRST);
```

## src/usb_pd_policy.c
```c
/* Copyright 2022 The ChromiumOS Authors.
 * Use of this source code is governed by a BSD-style license that can be
 * found in the LICENSE file.
 */

/* Shared USB-C policy for Rex boards */

#include <zephyr/drivers/gpio.h>

#include "charge_manager.h"
#include "chipset.h"
#include "common.h"
#include "compile_time_macros.h"
#include "console.h"
#include "ec_commands.h"
#include "ioexpander.h"
#include "system.h"
#include "usb_mux.h"
#include "usb_pd.h"
#include "usbc_ppc.h"
#include "util.h"

#define CPRINTSUSB(format, args...) cprints(CC_USBCHARGE, format, ##args)
#define CPRINTFUSB(format, args...) cprintf(CC_USBCHARGE, format, ##args)

int pd_check_vconn_swap(int port)
{
	/* Allow VCONN swaps if the AP is on. */
	return chipset_in_state(CHIPSET_STATE_ANY_SUSPEND | CHIPSET_STATE_ON);
}

void pd_power_supply_reset(int port)
{
	/* Disable VBUS. */
	ppc_vbus_source_enable(port, 0);

	/* Enable discharge if we were previously sourcing 5V */
	if (IS_ENABLED(CONFIG_USB_PD_DISCHARGE))
		pd_set_vbus_discharge(port, 1);

	/* Notify host of power info change. */
	pd_send_host_event(PD_EVENT_POWER_CHANGE);
}

int pd_set_power_supply_ready(int port)
{
	int rv;

	/* Disable charging. */
	rv = ppc_vbus_sink_enable(port, 0);
	if (rv)
		return rv;

	if (IS_ENABLED(CONFIG_USB_PD_DISCHARGE)) {
		pd_set_vbus_discharge(port, 0);
	}

	/* Provide Vbus. */
	rv = ppc_vbus_source_enable(port, 1);
	if (rv) {
		return rv;
	}

	/* Notify host of power info change. */
	pd_send_host_event(PD_EVENT_POWER_CHANGE);

	return EC_SUCCESS;
}

/* Used by Vbus discharge common code with CONFIG_USB_PD_DISCHARGE */
int board_vbus_source_enabled(int port)
{
	return tcpm_get_src_ctrl(port);
}

/* Used by USB charger task with CONFIG_USB_PD_5V_EN_CUSTOM */
int board_is_sourcing_vbus(int port)
{
	return board_vbus_source_enabled(port);
}

__override int board_pd_set_frs_enable(int port, int enable)
{
	const struct gpio_dt_spec *c0_frs_en;

	CPRINTSUSB("ppc[%d]: pd_set_frs_enable = %d", port, enable);

	c0_frs_en = GPIO_DT_FROM_NODELABEL(ioex_usb_c0_frs_en);
	/*
	 * Both PPCs require the FRS GPIO to be set as soon as FRS capability
	 * is established.
	 */
	if (port == 0)
		gpio_pin_set_dt(c0_frs_en, enable);

	return EC_SUCCESS;
}
```

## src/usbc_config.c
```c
/* Copyright 2022 The ChromiumOS Authors
 * Use of this source code is governed by a BSD-style license that can be
 * found in the LICENSE file.
 */

#include <zephyr/drivers/gpio.h>

#include "battery_fuel_gauge.h"
#include "charger.h"
#include "charge_manager.h"
#include "charge_ramp.h"
#include "charge_state_v2.h"
#include "charge_state.h"
#include "charger.h"
#include "driver/charger/isl9241.h"
#include "driver/retimer/bb_retimer_public.h"
#include "driver/tcpm/nct38xx.h"
#include "driver/tcpm/ps8xxx_public.h"
#include "driver/tcpm/tcpci.h"
#include "gpio/gpio_int.h"
#include "hooks.h"
#include "i2c.h"
#include "ioexpander.h"
#include "driver/ppc/nx20p348x.h"
#include "ppc/syv682x_public.h"
#include "system.h"
#include "task.h"
#include "usb_mux.h"
#include "usbc_ppc.h"

#define CPRINTSUSB(format, args...) cprints(CC_USBCHARGE, format, ##args)
#define CPRINTFUSB(format, args...) cprintf(CC_USBCHARGE, format, ##args)

/*******************************************************************/
/* USB-C Configuration Start */

/* USB-C ports */
enum usbc_port { USBC_PORT_C0 = 0, USBC_PORT_C1, USBC_PORT_COUNT };
BUILD_ASSERT(USBC_PORT_COUNT == CONFIG_USB_PD_PORT_MAX_COUNT);

static void usbc_interrupt_init(void)
{
	/* Only reset TCPC if not sysjump */
	if (!system_jumped_late()) {
		board_reset_pd_mcu();
	}

	/* Enable PPC interrupts. */
	gpio_enable_dt_interrupt(GPIO_INT_FROM_NODELABEL(int_usb_c0_ppc));
	gpio_enable_dt_interrupt(GPIO_INT_FROM_NODELABEL(int_usb_c1_ppc));

	/* Enable TCPC interrupts. */
	gpio_enable_dt_interrupt(GPIO_INT_FROM_NODELABEL(int_usb_c0_tcpc));
	gpio_enable_dt_interrupt(GPIO_INT_FROM_NODELABEL(int_usb_c1_tcpc));

	/* Enable BC 1.2 interrupts */
	gpio_enable_dt_interrupt(GPIO_INT_FROM_NODELABEL(int_usb_c0_bc12));
	gpio_enable_dt_interrupt(GPIO_INT_FROM_NODELABEL(int_usb_c1_bc12));

	/* Enable SBU fault interrupts */
	gpio_enable_dt_interrupt(GPIO_INT_FROM_NODELABEL(int_usb_c0_sbu_fault));
}
DECLARE_HOOK(HOOK_INIT, usbc_interrupt_init, HOOK_PRIO_POST_I2C);

void board_overcurrent_event(int port, int is_overcurrented)
{
	/*
	 * TODO: Meteorlake PCH does not use Physical GPIO for over current
	 * error, hence Send 'Over Current Virtual Wire' eSPI signal.
	 */
}

void sbu_fault_interrupt(enum gpio_signal signal)
{
	int port = USBC_PORT_C0;

	CPRINTSUSB("C%d: SBU fault", port);
	pd_handle_overcurrent(port);
}

static void reset_nct38xx_port(int port)
{
	const struct gpio_dt_spec *reset_gpio_l;
	const struct device *ioex_port0, *ioex_port1;

	/* TODO(b/225189538): Save and restore ioex signals */
	if (port == USBC_PORT_C0) {
		reset_gpio_l = GPIO_DT_FROM_NODELABEL(gpio_usb_c0_tcpc_rst_odl);
		ioex_port0 = DEVICE_DT_GET(DT_NODELABEL(ioex_c0_port0));
		ioex_port1 = DEVICE_DT_GET(DT_NODELABEL(ioex_c0_port1));
	} else {
		/* Invalid port: do nothing */
		return;
	}

	gpio_pin_set_dt(reset_gpio_l, 0);
	msleep(NCT38XX_RESET_HOLD_DELAY_MS);
	gpio_pin_set_dt(reset_gpio_l, 1);
	nct38xx_reset_notify(port);
	if (NCT3807_RESET_POST_DELAY_MS != 0) {
		msleep(NCT3807_RESET_POST_DELAY_MS);
	}

	/* Re-enable the IO expander pins */
	gpio_reset_port(ioex_port0);
	gpio_reset_port(ioex_port1);
}

void board_reset_pd_mcu(void)
{
	/* Reset TCPC0 */
	reset_nct38xx_port(USBC_PORT_C0);

	/* Reset TCPC1 */
	gpio_pin_set_dt(GPIO_DT_FROM_NODELABEL(gpio_usb_c1_rt_rst_r_odl), 0);
	msleep(PS8XXX_RESET_DELAY_MS);
	gpio_pin_set_dt(GPIO_DT_FROM_NODELABEL(gpio_usb_c1_rt_rst_r_odl), 1);
	msleep(PS8815_FW_INIT_DELAY_MS);
}

uint16_t tcpc_get_alert_status(void)
{
	uint16_t status = 0;
	const struct gpio_dt_spec *tcpc_c0_rst_l;
	const struct gpio_dt_spec *tcpc_c0_int_l;
	const struct gpio_dt_spec *tcpc_c1_rst_l;
	const struct gpio_dt_spec *tcpc_c1_int_l;

	tcpc_c0_rst_l = GPIO_DT_FROM_NODELABEL(gpio_usb_c0_tcpc_rst_odl);
	tcpc_c0_int_l = GPIO_DT_FROM_NODELABEL(gpio_usb_c0_tcpc_int_odl);

	tcpc_c1_rst_l = GPIO_DT_FROM_NODELABEL(gpio_usb_c1_rt_rst_r_odl);
	tcpc_c1_int_l = GPIO_DT_FROM_NODELABEL(gpio_usb_c1_tcpc_int_odl);

	/*
	 * Check which port has the ALERT line set and ignore if that TCPC has
	 * its reset line active.
	 */
	if (!gpio_pin_get_dt(tcpc_c0_int_l) && gpio_pin_get_dt(tcpc_c0_rst_l)) {
		status |= PD_STATUS_TCPC_ALERT_0;
	}

	if (!gpio_pin_get_dt(tcpc_c1_int_l) && gpio_pin_get_dt(tcpc_c1_rst_l)) {
		status |= PD_STATUS_TCPC_ALERT_1;
	}

	return status;
}

void ppc_interrupt(enum gpio_signal signal)
{
	switch (signal) {
	case GPIO_USB_C0_PPC_INT_ODL:
		syv682x_interrupt(USBC_PORT_C0);
		break;
	case GPIO_USB_C1_PPC_INT_ODL:
		nx20p348x_interrupt(USBC_PORT_C1);
		break;
	default:
		break;
	}
}

void bc12_interrupt(enum gpio_signal signal)
{
	switch (signal) {
	case GPIO_USB_C0_BC12_INT_ODL:
		usb_charger_task_set_event(0, USB_CHG_EVENT_BC12);
		break;
	case GPIO_USB_C1_BC12_INT_ODL:
		usb_charger_task_set_event(1, USB_CHG_EVENT_BC12);
		break;
	default:
		break;
	}
}

void board_set_charge_limit(int port, int supplier, int charge_ma, int max_ma,
			    int charge_mv)
{
	charge_set_input_current_limit(
		MAX(charge_ma, CONFIG_CHARGER_INPUT_CURRENT), charge_mv);
}

static void board_disable_charger_ports(void)
{
	int i;

	CPRINTSUSB("Disabling all charger ports");

	/* Disable all ports. */
	for (i = 0; i < ppc_cnt; i++) {
		/*
		 * If this port had booted in dead battery mode, go
		 * ahead and reset it so EN_SNK responds properly.
		 */
		if (nct38xx_get_boot_type(i) == NCT38XX_BOOT_DEAD_BATTERY) {
			reset_nct38xx_port(i);
			pd_set_error_recovery(i);
		}

		/*
		 * Do not return early if one fails otherwise we can
		 * get into a boot loop assertion failure.
		 */
		if (ppc_vbus_sink_enable(i, 0)) {
			CPRINTSUSB("Disabling C%d as sink failed.", i);
		}
	}
}

int board_set_active_charge_port(int port)
{
	int is_valid_port = (port >= 0 && port < CONFIG_USB_PD_PORT_MAX_COUNT);
	int i;
	int rv;

	if (port == CHARGE_PORT_NONE) {
		board_disable_charger_ports();
		return EC_SUCCESS;
	} else if (!is_valid_port) {
		return EC_ERROR_INVAL;
	}

	/*
	 * Check if we can reset any ports in dead battery mode
	 *
	 * The NCT3807 may continue to keep EN_SNK low on the dead battery port
	 * and allow a dangerous level of voltage to pass through to the initial
	 * charge port (see b/183660105).  We must reset the ports if we have
	 * sufficient battery to do so, which will bring EN_SNK back under
	 * normal control.
	 */
	rv = EC_SUCCESS;
	if (port == USBC_PORT_C0 &&
	    nct38xx_get_boot_type(port) == NCT38XX_BOOT_DEAD_BATTERY) {
		/* Handle dead battery boot case */
		CPRINTSUSB("Found dead battery on C0");
		/*
		 * If we have battery, get this port reset ASAP.
		 * This means temporarily rejecting charge manager
		 * sets to it.
		 */
		if (pd_is_battery_capable()) {
			reset_nct38xx_port(port);
			pd_set_error_recovery(port);
		}
	}

	if (rv != EC_SUCCESS) {
		return rv;
	}

	/* Check if the port is sourcing VBUS. */
	if (tcpm_get_src_ctrl(port)) {
		CPRINTSUSB("Skip enable C%d", port);
		return EC_ERROR_INVAL;
	}

	CPRINTSUSB("New charge port: C%d", port);

	/*
	 * Turn off the other ports' sink path FETs, before enabling the
	 * requested charge port.
	 */
	for (i = 0; i < ppc_cnt; i++) {
		if (i == port) {
			continue;
		}
		if (ppc_vbus_sink_enable(i, 0)) {
			CPRINTSUSB("C%d: sink path disable failed.", i);
		}
	}

	/* Enable requested charge port. */
	if (ppc_vbus_sink_enable(port, 1)) {
		CPRINTSUSB("C%d: sink path enable failed.", port);
		return EC_ERROR_UNKNOWN;
	}

	return EC_SUCCESS;
}
```
